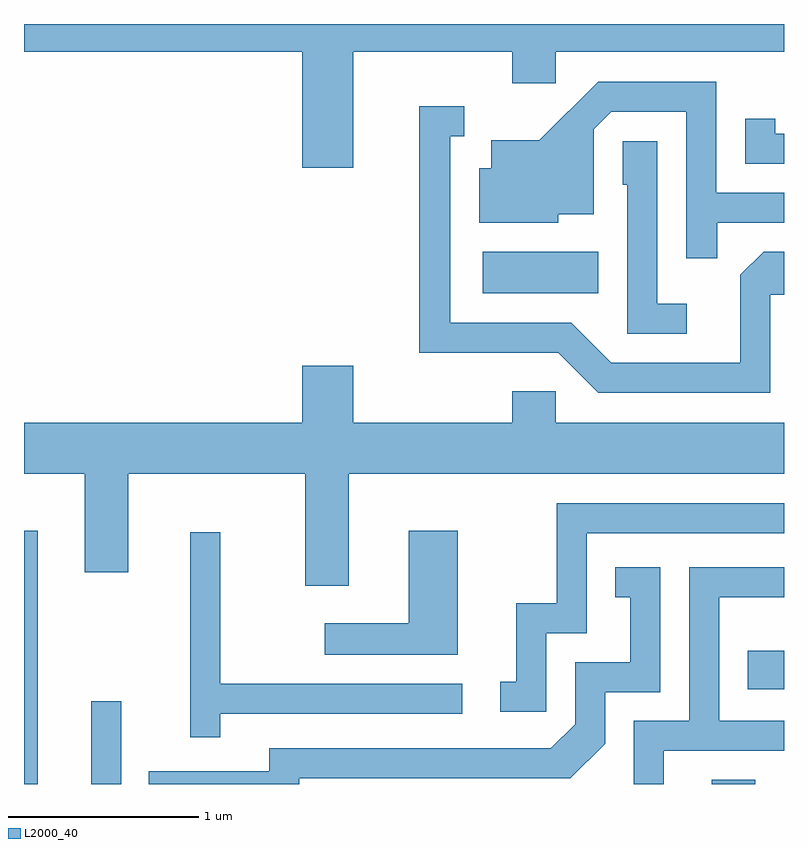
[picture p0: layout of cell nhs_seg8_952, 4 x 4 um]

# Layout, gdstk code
import gdstk
lib = gdstk.Library(unit=1e-6, precision=1e-09)
def R(c, l, rs):  # rectangles x0, y0, x1, y1
    for r in rs: c.add(gdstk.rectangle(r[:2], r[2:], *l))
def P(c, l, *ps):  # polygons
    for p in ps: c.add(gdstk.Polygon(p, *l))
L2000_40 = (2000, 40)

nhs_seg8_952 = lib.new_cell('nhs_seg8_952')
R(nhs_seg8_952, L2000_40, [(213.611,1830.342,213.684,1831.674), (213.966,1830.342,214.124,1830.778), (217.231,1830.342,217.459,1830.364), (217.421,1830.841,217.611,1831.044), (216.026,1832.926,216.634,1833.144)])
P(nhs_seg8_952, L2000_40, [(215.344,1834.196),(216.181,1834.196),(216.181,1834.031),(216.409,1834.031),(216.409,1834.196),(217.611,1834.196),(217.611,1834.342),(213.611,1834.342),(213.611,1834.196),(215.076,1834.196),(215.076,1833.586),(215.344,1833.586)],
  [(217.259,1833.296),(217.611,1833.296),(217.611,1833.454),(217.254,1833.454),(217.254,1834.039),(216.634,1834.039),(216.324,1833.729),(216.071,1833.729),(216.071,1833.584),(216.006,1833.584),(216.006,1833.296),(216.424,1833.296),(216.424,1833.341),(216.609,1833.341),(216.609,1833.789),(216.702,1833.881),(217.096,1833.881),(217.096,1833.108),(217.259,1833.108)],
  [(217.539,1832.916),(217.611,1832.916),(217.611,1833.144),(217.504,1833.144),(217.381,1833.022),(217.381,1832.559),(216.702,1832.559),(216.492,1832.769),(215.854,1832.769),(215.854,1833.751),(215.928,1833.751),(215.928,1833.909),(215.691,1833.909),(215.691,1832.611),(216.424,1832.611),(216.634,1832.401),(217.539,1832.401)],
  [(217.611,1833.764),(217.564,1833.764),(217.564,1833.843),(217.406,1833.843),(217.406,1833.606),(217.611,1833.606)],
  [(217.098,1832.869),(216.944,1832.869),(216.944,1833.724),(216.761,1833.724),(216.761,1833.496),(216.786,1833.496),(216.786,1832.711),(217.098,1832.711)],
  [(215.319,1831.976),(217.611,1831.976),(217.611,1832.244),(216.409,1832.244),(216.409,1832.409),(216.181,1832.409),(216.181,1832.244),(215.344,1832.244),(215.344,1832.544),(215.076,1832.544),(215.076,1832.244),(213.611,1832.244),(213.611,1831.976),(213.931,1831.976),(213.931,1831.456),(214.159,1831.456),(214.159,1831.976),(215.091,1831.976),(215.091,1831.386),(215.319,1831.386)],
  [(216.359,1831.136),(216.574,1831.136),(216.574,1831.661),(217.611,1831.661),(217.611,1831.819),(216.416,1831.819),(216.416,1831.294),(216.201,1831.294),(216.201,1830.879),(216.118,1830.879),(216.118,1830.721),(216.359,1830.721)],
  [(215.894,1831.674),(215.636,1831.674),(215.636,1831.189),(215.193,1831.189),(215.193,1831.021),(215.894,1831.021)],
  [(214.644,1830.711),(215.918,1830.711),(215.918,1830.869),(214.644,1830.869),(214.644,1831.668),(214.486,1831.668),(214.486,1830.588),(214.644,1830.588)],
  [(216.979,1830.516),(217.611,1830.516),(217.611,1830.674),(217.269,1830.674),(217.269,1831.326),(217.611,1831.326),(217.611,1831.484),(217.111,1831.484),(217.111,1830.674),(216.821,1830.674),(216.821,1830.342),(216.979,1830.342)],
  [(215.059,1830.371),(216.487,1830.371),(216.669,1830.554),(216.669,1830.826),(216.959,1830.826),(216.959,1831.484),(216.723,1831.484),(216.723,1831.326),(216.801,1831.326),(216.801,1830.984),(216.511,1830.984),(216.511,1830.657),(216.384,1830.529),(214.901,1830.529),(214.901,1830.409),(214.268,1830.409),(214.268,1830.342),(215.059,1830.342)])

lib.write_gds('nhs_seg8_952.gds')
